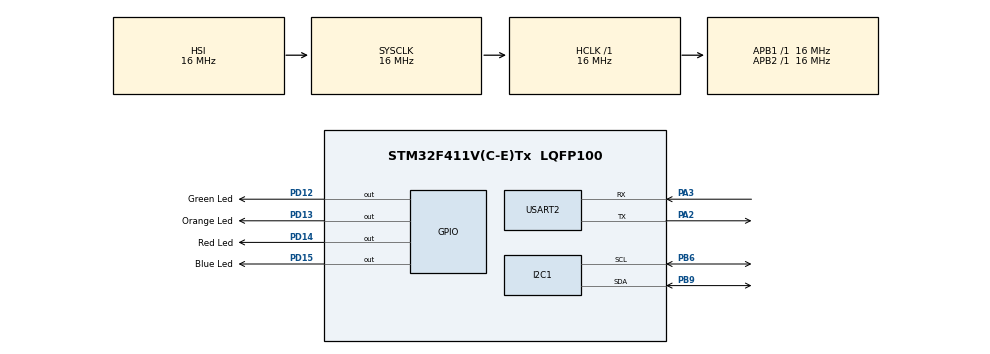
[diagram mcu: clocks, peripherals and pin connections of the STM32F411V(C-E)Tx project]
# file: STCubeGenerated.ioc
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Dma.Request0=USART2_RX
Dma.Request1=USART2_TX
Dma.USART2_RX.0.Direction=DMA_PERIPH_TO_MEMORY
Dma.USART2_RX.0.FIFOMode=DMA_FIFOMODE_DISABLE
Dma.USART2_RX.0.Instance=DMA1_Stream5
Dma.USART2_RX.0.MemDataAlignment=DMA_MDATAALIGN_BYTE
Dma.USART2_RX.0.MemInc=DMA_MINC_ENABLE
Dma.USART2_RX.0.Mode=DMA_NORMAL
Dma.USART2_RX.0.PeriphDataAlignment=DMA_PDATAALIGN_BYTE
Dma.USART2_RX.0.PeriphInc=DMA_PINC_DISABLE
Dma.USART2_RX.0.Priority=DMA_PRIORITY_LOW
Dma.USART2_TX.1.Direction=DMA_MEMORY_TO_PERIPH
Dma.USART2_TX.1.FIFOMode=DMA_FIFOMODE_DISABLE
Dma.USART2_TX.1.Instance=DMA1_Stream6
Dma.USART2_TX.1.MemDataAlignment=DMA_MDATAALIGN_BYTE
Dma.USART2_TX.1.MemInc=DMA_MINC_ENABLE
Dma.USART2_TX.1.Mode=DMA_NORMAL
Dma.USART2_TX.1.PeriphDataAlignment=DMA_PDATAALIGN_BYTE
Dma.USART2_TX.1.PeriphInc=DMA_PINC_DISABLE
Dma.USART2_TX.1.Priority=DMA_PRIORITY_LOW
Mcu.Family=STM32F4
Mcu.Name=STM32F411V(C-E)Tx
Mcu.Package=LQFP100
NVIC.DMA1_Stream5_IRQn=true\:0\:0\:false\:false\:true\:false
NVIC.DMA1_Stream6_IRQn=true\:0\:0\:false\:false\:true\:false
NVIC.I2C1_ER_IRQn=true\:0\:0\:false\:false\:true\:true
NVIC.I2C1_EV_IRQn=true\:0\:0\:false\:false\:true\:true
NVIC.PriorityGroup=NVIC_PRIORITYGROUP_4
NVIC.USART2_IRQn=true\:0\:0\:false\:false\:true\:true
PA2.Mode=Asynchronous
PA2.Signal=USART2_TX
PA3.Mode=Asynchronous
PA3.Signal=USART2_RX
PB6.Mode=I2C
PB6.Signal=I2C1_SCL
PB9.Mode=I2C
PB9.Signal=I2C1_SDA
PD12.GPIO_Label=Green Led
PD12.GPIO_Speed=GPIO_SPEED_FREQ_VERY_HIGH
PD12.Signal=GPIO_Output
PD13.GPIO_Label=Orange Led
PD13.GPIO_Speed=GPIO_SPEED_FREQ_VERY_HIGH
PD13.Signal=GPIO_Output
PD14.GPIO_Label=Red Led
PD14.GPIO_Speed=GPIO_SPEED_FREQ_VERY_HIGH
PD14.Signal=GPIO_Output
PD15.GPIO_Label=Blue Led
PD15.GPIO_Speed=GPIO_SPEED_FREQ_VERY_HIGH
PD15.Signal=GPIO_Output
ProjectManager.HeapSize=0x200
ProjectManager.StackSize=0x400
ProjectManager.TargetToolchain=MDK-ARM V5
RCC.AHBFreq_Value=16000000
RCC.APB1Freq_Value=16000000
RCC.APB2Freq_Value=16000000
RCC.CortexFreq_Value=16000000
RCC.HSE_VALUE=25000000
RCC.HSI_VALUE=16000000
RCC.LSE_VALUE=32768
RCC.SYSCLKFreq_VALUE=16000000
RCC.VCOOutputFreq_Value=192000000
USART2.VirtualMode=VM_ASYNC
board=custom

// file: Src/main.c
/**
  ******************************************************************************
  * @file           : main.c
  * @brief          : Main program body
  ******************************************************************************
  ** This notice applies to any and all portions of this file
  * that are not between comment pairs USER CODE BEGIN and
  * USER CODE END. Other portions of this file, whether
  * inserted by the user or by software development tools
  * are owned by their respective copyright owners.
  *
  * COPYRIGHT(c) 2018 STMicroelectronics
  *
  * Redistribution and use in source and binary forms, with or without modification,
  * are permitted provided that the following conditions are met:
  *   1. Redistributions of source code must retain the above copyright notice,
  *      this list of conditions and the following disclaimer.
  *   2. Redistributions in binary form must reproduce the above copyright notice,
  *      this list of conditions and the following disclaimer in the documentation
  *      and/or other materials provided with the distribution.
  *   3. Neither the name of STMicroelectronics nor the names of its contributors
  *      may be used to endorse or promote products derived from this software
  *      without specific prior written permission.
  *
  * THIS SOFTWARE IS PROVIDED BY THE COPYRIGHT HOLDERS AND CONTRIBUTORS "AS IS"
  * AND ANY EXPRESS OR IMPLIED WARRANTIES, INCLUDING, BUT NOT LIMITED TO, THE
  * IMPLIED WARRANTIES OF MERCHANTABILITY AND FITNESS FOR A PARTICULAR PURPOSE ARE
  * DISCLAIMED. IN NO EVENT SHALL THE COPYRIGHT HOLDER OR CONTRIBUTORS BE LIABLE
  * FOR ANY DIRECT, INDIRECT, INCIDENTAL, SPECIAL, EXEMPLARY, OR CONSEQUENTIAL
  * DAMAGES (INCLUDING, BUT NOT LIMITED TO, PROCUREMENT OF SUBSTITUTE GOODS OR
  * SERVICES; LOSS OF USE, DATA, OR PROFITS; OR BUSINESS INTERRUPTION) HOWEVER
  * CAUSED AND ON ANY THEORY OF LIABILITY, WHETHER IN CONTRACT, STRICT LIABILITY,
  * OR TORT (INCLUDING NEGLIGENCE OR OTHERWISE) ARISING IN ANY WAY OUT OF THE USE
  * OF THIS SOFTWARE, EVEN IF ADVISED OF THE POSSIBILITY OF SUCH DAMAGE.
  *
  ******************************************************************************
  */
#include "main.h"
#include "stm32f4xx_hal.h"

/* USER CODE BEGIN Includes */
#include <string.h>
/* USER CODE END Includes */

I2C_HandleTypeDef hi2c1;

UART_HandleTypeDef huart2;
DMA_HandleTypeDef hdma_usart2_rx;
DMA_HandleTypeDef hdma_usart2_tx;

/* USER CODE BEGIN PV */
/* Private variables ---------------------------------------------------------*/
#define BUFFERSIZE	16
uint8_t i,RxData[2],RxIndx,TxCplt;
uint8_t buffer[BUFFERSIZE];
uint8_t Txbuffer[BUFFERSIZE];
uint8_t Rxbuffer[BUFFERSIZE];
/* USER CODE END PV */

void SystemClock_Config(void);
static void MX_GPIO_Init(void);
static void MX_DMA_Init(void);
static void MX_I2C1_Init(void);
static void MX_USART2_UART_Init(void);

/* USER CODE BEGIN PFP */
/* Private function prototypes -----------------------------------------------*/
static void my_atoi(uint8_t *buff);
/* USER CODE END PFP */

int main(void)
{

  /* MCU Configuration----------------------------------------------------------*/

  /* Reset of all peripherals, Initializes the Flash interface and the Systick. */
  HAL_Init();

  /* Configure the system clock */
  SystemClock_Config();

  /* Initialize all configured peripherals */
  MX_GPIO_Init();
  MX_DMA_Init();
  MX_I2C1_Init();
  MX_USART2_UART_Init();
  /* USER CODE BEGIN 2 */

	if(HAL_UART_Transmit(&huart2, (uint8_t *)"\r\n************************* STM32F4-DISCOVERY I2C Communication over UART *************************\r\n", strlen("\r\n************************* STM32F4-DISCOVERY I2C Communication over UART *************************\r\n"), 1000) != HAL_OK)
	{
		Error_Handler();
	}
	if(HAL_UART_Transmit(&huart2, (uint8_t *)"\r\n\r\n1.Send an I2C device(CS43L22) address(0x32)\r\n2.Send register address(0x01-0x34) of an I2C device(CS43L22) to which data has to be written\r\n3.Send a 8-bit data to be written\r\n", strlen("\r\n\r\n1.Send an I2C device(CS43L22) address(0x32)\r\n2.Send register address(0x01-0x34) of an I2C device(CS43L22) to which data has to be written\r\n3.Send a 8-bit data to be written\r\n"), 1000) != HAL_OK)
	{
		Error_Handler();
	}
	if(HAL_UART_Transmit(&huart2, (uint8_t *)"\r\n\r\ne.g 322465 \r\n\r\n",strlen("\r\n\r\ne.g 322465\r\n\r\n"), 1000) != HAL_OK)
	{
		Error_Handler();
	}

	if(HAL_UART_Receive_DMA(&huart2, RxData, 1) != HAL_OK)
	{
		Error_Handler();
	}
	/*for(i=0;i<255;i++)
	{
		if(HAL_I2C_IsDeviceReady(&hi2c1, i, 1, 1000) == HAL_OK)
		{
			HAL_GPIO_TogglePin(GPIOD, Green_Led_Pin);
			break;
		}
	}
	*/
	//0x32 => CS43L22 chip address
	//buffer[0] = 0x24; //CS43L22 "SPEAKER A" Register Address
	//buffer[1] = 0x65; //Data

  /* USER CODE END 2 */

  /* Infinite loop */
  /* USER CODE BEGIN WHILE */
  while (1)
  {
		if(TxCplt)
		{
			my_atoi(Rxbuffer);
			if(buffer[0] != 0x32)
			{
				Error_Handler();
			}
			if(HAL_I2C_Master_Transmit(&hi2c1, buffer[0], buffer+1, 2, 50) != HAL_OK)
			{
				Error_Handler();
			}
			if(HAL_I2C_Master_Transmit(&hi2c1, buffer[0], buffer+1, 1, 50) != HAL_OK)
			{
				Error_Handler();
			}
			if(HAL_I2C_Master_Receive(&hi2c1, buffer[0], Txbuffer, 1, 50) != HAL_OK)
			{
				Error_Handler();
			}

			if(HAL_UART_Transmit_DMA(&huart2, Txbuffer, strlen(Txbuffer)) != HAL_OK)
			{
				Error_Handler();
			}

			TxCplt=0;
			memset(buffer, 0 , BUFFERSIZE);
			HAL_Delay(500);
		}
  /* USER CODE END WHILE */

  }

}

void SystemClock_Config(void)
{

  RCC_OscInitTypeDef RCC_OscInitStruct;
  RCC_ClkInitTypeDef RCC_ClkInitStruct;

    /**Configure the main internal regulator output voltage
    */
  __HAL_RCC_PWR_CLK_ENABLE();

  __HAL_PWR_VOLTAGESCALING_CONFIG(PWR_REGULATOR_VOLTAGE_SCALE1);

    /**Initializes the CPU, AHB and APB busses clocks
    */
  RCC_OscInitStruct.OscillatorType = RCC_OSCILLATORTYPE_HSI;
  RCC_OscInitStruct.HSIState = RCC_HSI_ON;
  RCC_OscInitStruct.HSICalibrationValue = 16;
  RCC_OscInitStruct.PLL.PLLState = RCC_PLL_NONE;
  if (HAL_RCC_OscConfig(&RCC_OscInitStruct) != HAL_OK)
  {
    _Error_Handler(__FILE__, __LINE__);
  }

    /**Initializes the CPU, AHB and APB busses clocks
    */
  RCC_ClkInitStruct.ClockType = RCC_CLOCKTYPE_HCLK|RCC_CLOCKTYPE_SYSCLK
                              |RCC_CLOCKTYPE_PCLK1|RCC_CLOCKTYPE_PCLK2;
  RCC_ClkInitStruct.SYSCLKSource = RCC_SYSCLKSOURCE_HSI;
  RCC_ClkInitStruct.AHBCLKDivider = RCC_SYSCLK_DIV1;
  RCC_ClkInitStruct.APB1CLKDivider = RCC_HCLK_DIV1;
  RCC_ClkInitStruct.APB2CLKDivider = RCC_HCLK_DIV1;

  if (HAL_RCC_ClockConfig(&RCC_ClkInitStruct, FLASH_LATENCY_0) != HAL_OK)
  {
    _Error_Handler(__FILE__, __LINE__);
  }

    /**Configure the Systick interrupt time
    */
  HAL_SYSTICK_Config(HAL_RCC_GetHCLKFreq()/1000);

    /**Configure the Systick
    */
  HAL_SYSTICK_CLKSourceConfig(SYSTICK_CLKSOURCE_HCLK);

  /* SysTick_IRQn interrupt configuration */
  HAL_NVIC_SetPriority(SysTick_IRQn, 0, 0);
}

/* I2C1 init function */
static void MX_I2C1_Init(void)
{

  hi2c1.Instance = I2C1;
  hi2c1.Init.ClockSpeed = 100000;
  hi2c1.Init.DutyCycle = I2C_DUTYCYCLE_2;
  hi2c1.Init.OwnAddress1 = 0;
  hi2c1.Init.AddressingMode = I2C_ADDRESSINGMODE_7BIT;
  hi2c1.Init.DualAddressMode = I2C_DUALADDRESS_DISABLE;
  hi2c1.Init.OwnAddress2 = 0;
  hi2c1.Init.GeneralCallMode = I2C_GENERALCALL_DISABLE;
  hi2c1.Init.NoStretchMode = I2C_NOSTRETCH_DISABLE;
  if (HAL_I2C_Init(&hi2c1) != HAL_OK)
  {
    _Error_Handler(__FILE__, __LINE__);
  }

}

/* USART2 init function */
static void MX_USART2_UART_Init(void)
{

  huart2.Instance = USART2;
  huart2.Init.BaudRate = 115200;
  huart2.Init.WordLength = UART_WORDLENGTH_8B;
  huart2.Init.StopBits = UART_STOPBITS_1;
  huart2.Init.Parity = UART_PARITY_NONE;
  huart2.Init.Mode = UART_MODE_TX_RX;
  huart2.Init.HwFlowCtl = UART_HWCONTROL_NONE;
  huart2.Init.OverSampling = UART_OVERSAMPLING_16;
  if (HAL_UART_Init(&huart2) != HAL_OK)
  {
    _Error_Handler(__FILE__, __LINE__);
  }

}

static void MX_DMA_Init(void)
{
  /* DMA controller clock enable */
  __HAL_RCC_DMA1_CLK_ENABLE();

  /* DMA interrupt init */
  /* DMA1_Stream5_IRQn interrupt configuration */
  HAL_NVIC_SetPriority(DMA1_Stream5_IRQn, 0, 0);
  HAL_NVIC_EnableIRQ(DMA1_Stream5_IRQn);
  /* DMA1_Stream6_IRQn interrupt configuration */
  HAL_NVIC_SetPriority(DMA1_Stream6_IRQn, 0, 0);
  HAL_NVIC_EnableIRQ(DMA1_Stream6_IRQn);

}

/** Configure pins as
        * Analog
        * Input
        * Output
        * EVENT_OUT
        * EXTI
*/
static void MX_GPIO_Init(void)
{

  GPIO_InitTypeDef GPIO_InitStruct;

  /* GPIO Ports Clock Enable */
  __HAL_RCC_GPIOA_CLK_ENABLE();
  __HAL_RCC_GPIOD_CLK_ENABLE();
  __HAL_RCC_GPIOB_CLK_ENABLE();

  /*Configure GPIO pin Output Level */
  HAL_GPIO_WritePin(GPIOD, Green_Led_Pin|Orange_Led_Pin|Red_Led_Pin|Blue_Led_Pin, GPIO_PIN_RESET);

  /*Configure GPIO pins : Green_Led_Pin Orange_Led_Pin Red_Led_Pin Blue_Led_Pin */
  GPIO_InitStruct.Pin = Green_Led_Pin|Orange_Led_Pin|Red_Led_Pin|Blue_Led_Pin;
  GPIO_InitStruct.Mode = GPIO_MODE_OUTPUT_PP;
  GPIO_InitStruct.Pull = GPIO_NOPULL;
  GPIO_InitStruct.Speed = GPIO_SPEED_FREQ_VERY_HIGH;
  HAL_GPIO_Init(GPIOD, &GPIO_InitStruct);

}

/* USER CODE BEGIN 4 */

static void my_atoi(uint8_t *buff)
{
	uint8_t i,j=0;

	for(i=0;i<(strlen(buff)/2);i++)
	{
		buffer[i] = (buff[j] - '0')*16 + (buff[j+1] - '0');
		j=j+2;
	}
	if((strlen(buff)%2) != 0)
	{
		buffer[i] = (buff[j] - '0');
	}

	return;
}
void HAL_UART_TxCpltCallback(UART_HandleTypeDef *huart)
{
	if(huart->Instance == USART2)
	{
		HAL_GPIO_TogglePin(GPIOD, Orange_Led_Pin);
	}
	return;
}

void HAL_UART_RxCpltCallback(UART_HandleTypeDef *huart)
{
	if(huart->Instance == USART2)
	{
		HAL_GPIO_TogglePin(GPIOD, Blue_Led_Pin);
		if(RxIndx == 0)
		{
			memset(Rxbuffer, 0, BUFFERSIZE);
		}
		if(RxData[0] != 13)
		{
			Rxbuffer[RxIndx++] = RxData[0];
		}
		else
		{
			RxIndx = 0;
			TxCplt = 1;
		}
		if(HAL_UART_Receive_DMA(&huart2, RxData, 1) != HAL_OK)
		{
			Error_Handler();
		}
	}
	return;
}

/* USER CODE END 4 */

void _Error_Handler(char *file, int line)
{
  /* USER CODE BEGIN Error_Handler_Debug */
  /* User can add his own implementation to report the HAL error return state */
	HAL_GPIO_WritePin(GPIOD, Red_Led_Pin, GPIO_PIN_SET);
  while(1)
  {
  }
  /* USER CODE END Error_Handler_Debug */
}

/************************ (C) COPYRIGHT STMicroelectronics *****END OF FILE****/
